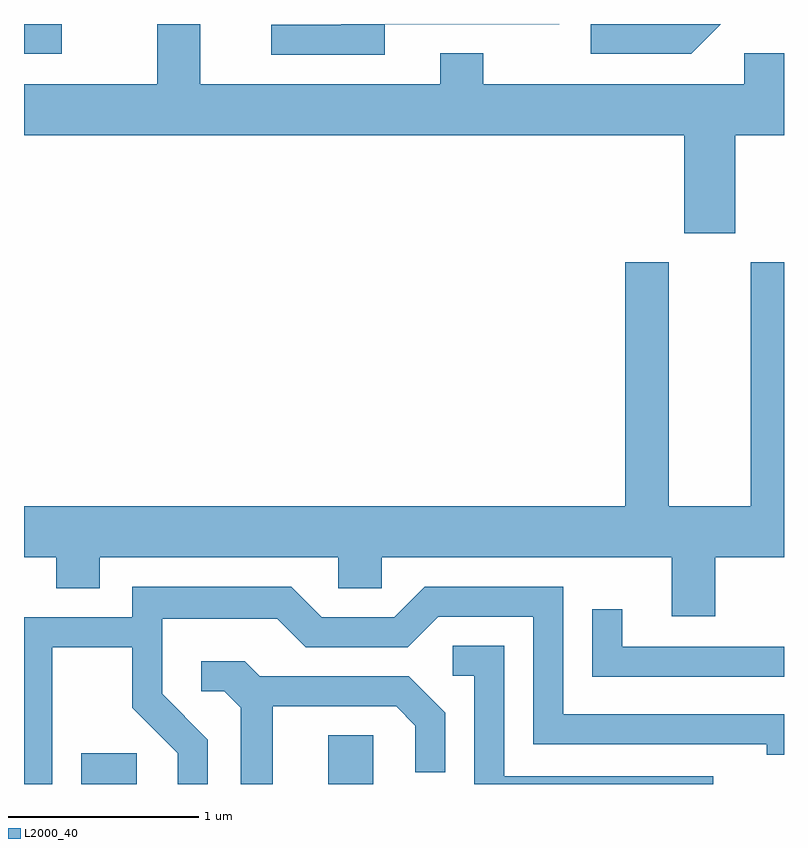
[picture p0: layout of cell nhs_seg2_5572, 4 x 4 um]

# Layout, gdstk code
import gdstk
lib = gdstk.Library(unit=1e-6, precision=1e-09)
def R(c, l, rs):  # rectangles x0, y0, x1, y1
    for r in rs: c.add(gdstk.rectangle(r[:2], r[2:], *l))
def P(c, l, *ps):  # polygons
    for p in ps: c.add(gdstk.Polygon(p, *l))
L2000_40 = (2000, 40)

nhs_seg2_5572 = lib.new_cell('nhs_seg2_5572')
R(nhs_seg2_5572, L2000_40, [(349.911,1033.802,350.204,1033.964), (351.211,1033.802,351.449,1034.059), (349.611,1037.646,349.809,1037.802)])
P(nhs_seg2_5572, L2000_40, [(353.354,1037.216),(353.611,1037.216),(353.611,1037.649),(353.401,1037.649),(353.401,1037.484),(352.029,1037.484),(352.029,1037.649),(351.801,1037.649),(351.801,1037.484),(350.539,1037.484),(350.539,1037.802),(350.311,1037.802),(350.311,1037.484),(349.611,1037.484),(349.611,1037.216),(353.086,1037.216),(353.086,1036.701),(353.354,1036.701)],
  [(351.509,1037.801),(352.429,1037.801),(352.429,1037.802),(351.281,1037.802),(351.281,1037.799),(350.913,1037.799),(350.913,1037.641),(351.509,1037.641)],
  [(353.277,1037.802),(352.593,1037.802),(352.593,1037.646),(353.122,1037.646)],
  [(353.249,1034.996),(353.611,1034.996),(353.611,1036.549),(353.436,1036.549),(353.436,1035.264),(353.004,1035.264),(353.004,1036.549),(352.776,1036.549),(352.776,1035.264),(349.611,1035.264),(349.611,1034.996),(349.781,1034.996),(349.781,1034.831),(350.009,1034.831),(350.009,1034.996),(351.266,1034.996),(351.266,1034.831),(351.494,1034.831),(351.494,1034.996),(353.021,1034.996),(353.021,1034.686),(353.249,1034.686)],
  [(349.759,1034.521),(350.181,1034.521),(350.181,1034.204),(350.421,1033.964),(350.421,1033.802),(350.579,1033.802),(350.579,1034.036),(350.339,1034.277),(350.339,1034.671),(350.944,1034.671),(351.094,1034.521),(351.632,1034.521),(351.792,1034.681),(352.291,1034.681),(352.291,1034.011),(353.521,1034.011),(353.521,1033.956),(353.611,1033.956),(353.611,1034.169),(352.449,1034.169),(352.449,1034.839),(351.719,1034.839),(351.559,1034.679),(351.177,1034.679),(351.017,1034.839),(350.181,1034.839),(350.181,1034.679),(349.611,1034.679),(349.611,1033.802),(349.759,1033.802)],
  [(353.611,1034.524),(352.759,1034.524),(352.759,1034.723),(352.601,1034.723),(352.601,1034.366),(353.611,1034.366)],
  [(353.238,1033.844),(352.139,1033.844),(352.139,1034.529),(351.868,1034.529),(351.868,1034.371),(351.981,1034.371),(351.981,1033.802),(353.238,1033.802)],
  [(350.919,1034.211),(351.569,1034.211),(351.671,1034.109),(351.671,1033.863),(351.829,1033.863),(351.829,1034.177),(351.637,1034.369),(350.852,1034.369),(350.772,1034.449),(350.543,1034.449),(350.543,1034.291),(350.664,1034.291),(350.751,1034.204),(350.751,1033.802),(350.919,1033.802)])

lib.write_gds('nhs_seg2_5572.gds')
